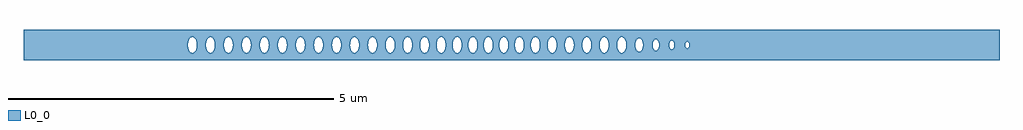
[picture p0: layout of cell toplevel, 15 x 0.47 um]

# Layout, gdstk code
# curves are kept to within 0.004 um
import gdstk
lib = gdstk.Library(unit=1e-6, precision=1e-09)
def P(c, l, *ps):  # polygons
    for p in ps: c.add(gdstk.Polygon(p, *l))
L0_0 = (0, 0)

toplevel = lib.new_cell('toplevel')
P(toplevel, L0_0, [(-4.399,-0.235),(-4.399,-0.09),(-4.421,-0.016),(-4.418,0.038),(-4.399,0.09),(-4.399,0.235),(-7.5,0.235),(-7.5,-0.008),(-4.975,-0.008),(-4.973,0.031),(-4.959,0.079),(-4.938,0.109),(-4.909,0.124),(-4.874,0.112),(-4.853,0.085),(-4.837,0.038),(-4.834,-0.008),(-4.698,-0.008),(-4.695,0.038),(-4.685,0.073),(-4.658,0.112),(-4.632,0.124),(-4.606,0.118),(-4.579,0.09),(-4.562,0.046),(-4.557,0.008),(-4.559,-0.031),(-4.573,-0.079),(-4.594,-0.109),(-4.623,-0.124),(-4.649,-0.118),(-4.676,-0.09),(-4.693,-0.046),(-4.698,-0.008),(-4.834,-0.008),(-4.837,-0.038),(-4.853,-0.085),(-4.874,-0.112),(-4.9,-0.124),(-4.926,-0.118),(-4.953,-0.09),(-4.97,-0.046),(-4.975,-0.008),(-7.5,-0.008),(-7.5,-0.235)],
  [(-3.866,0.023),(-3.859,0.06),(-3.835,0.105),(-3.81,0.122),(-3.779,0.12),(-3.779,0.235),(-4.399,0.235),(-4.399,0.09),(-4.385,0.109),(-4.364,0.122),(-4.337,0.122),(-4.317,0.109),(-4.289,0.06),(-4.281,0.023),(-4.281,-0.016),(-4.144,-0.016),(-4.141,0.038),(-4.131,0.073),(-4.108,0.109),(-4.078,0.124),(-4.052,0.118),(-4.029,0.096),(-4.012,0.06),(-4.003,0.008),(-4.005,-0.031),(-4.019,-0.079),(-4.04,-0.109),(-4.069,-0.124),(-4.096,-0.118),(-4.119,-0.096),(-4.131,-0.073),(-4.144,-0.016),(-4.281,-0.016),(-4.296,-0.079),(-4.329,-0.118),(-4.346,-0.124),(-4.364,-0.122),(-4.385,-0.109),(-4.399,-0.09),(-4.399,-0.235),(-3.779,-0.235),(-3.779,-0.12),(-3.81,-0.122),(-3.842,-0.096),(-3.861,-0.053)],
  [(-3.312,0.023),(-3.305,0.06),(-3.288,0.096),(-3.256,0.122),(-3.23,0.122),(-3.209,0.109),(-3.181,0.06),(-3.181,0.235),(-3.779,0.235),(-3.779,0.12),(-3.755,0.1),(-3.737,0.066),(-3.727,-0.016),(-3.59,-0.016),(-3.587,0.038),(-3.577,0.073),(-3.554,0.109),(-3.524,0.124),(-3.498,0.118),(-3.475,0.096),(-3.454,0.046),(-3.449,0),(-3.454,-0.046),(-3.469,-0.085),(-3.486,-0.109),(-3.516,-0.124),(-3.542,-0.118),(-3.565,-0.096),(-3.582,-0.06),(-3.59,-0.016),(-3.727,-0.016),(-3.745,-0.085),(-3.779,-0.12),(-3.779,-0.235),(-3.181,-0.235),(-3.181,-0.06),(-3.198,-0.096),(-3.221,-0.118),(-3.239,-0.124),(-3.265,-0.118),(-3.288,-0.096),(-3.303,-0.066),(-3.313,-0.016)],
  [(-3.174,-0.023),(-3.181,-0.06),(-3.181,-0.235),(-2.482,-0.235),(-2.482,0.235),(-3.181,0.235),(-3.181,0.06),(-3.173,0),(-3.037,0),(-3.032,0.046),(-3.011,0.096),(-2.988,0.118),(-2.962,0.124),(-2.932,0.109),(-2.915,0.085),(-2.902,0.053),(-2.896,-0.008),(-2.76,-0.008),(-2.755,0.046),(-2.734,0.096),(-2.702,0.122),(-2.667,0.118),(-2.644,0.096),(-2.627,0.06),(-2.619,-0.016),(-2.625,-0.053),(-2.638,-0.085),(-2.655,-0.109),(-2.676,-0.122),(-2.707,-0.12),(-2.734,-0.096),(-2.751,-0.06),(-2.76,-0.008),(-2.896,-0.008),(-2.902,-0.053),(-2.921,-0.096),(-2.944,-0.118),(-2.962,-0.124),(-2.988,-0.118),(-3.011,-0.096),(-3.028,-0.061),(-3.037,0),(-3.173,0)],
  [(-2.479,0.038),(-2.467,0.079),(-2.45,0.105),(-2.426,0.122),(-2.408,0.124),(-2.378,0.109),(-2.361,0.085),(-2.345,0.038),(-2.342,-0.008),(-2.207,-0.008),(-2.202,0.046),(-2.188,0.085),(-2.158,0.118),(-2.132,0.124),(-2.102,0.109),(-2.079,0.073),(-2.069,0.038),(-2.066,-0.016),(-2.079,-0.073),(-2.091,-0.096),(-2.114,-0.118),(-2.132,-0.124),(-2.158,-0.118),(-2.185,-0.09),(-2.202,-0.046),(-2.207,-0.008),(-2.342,-0.008),(-2.347,-0.046),(-2.367,-0.096),(-2.386,-0.115),(-2.408,-0.124),(-2.434,-0.118),(-2.454,-0.1),(-2.472,-0.066),(-2.482,-0.026),(-2.482,-0.235),(-1.901,-0.235),(-1.901,-0.105),(-1.923,-0.066),(-1.934,-0.008),(-1.925,0.06),(-1.901,0.105),(-1.901,0.235),(-2.482,0.235)],
  [(-1.405,0.016),(-1.395,0.066),(-1.369,0.109),(-1.348,0.122),(-1.331,0.124),(-1.297,0.105),(-1.297,0.235),(-1.901,0.235),(-1.901,0.105),(-1.868,0.124),(-1.85,0.122),(-1.829,0.109),(-1.802,0.06),(-1.793,-0.016),(-1.666,-0.016),(-1.663,0.038),(-1.653,0.073),(-1.63,0.109),(-1.6,0.124),(-1.574,0.118),(-1.551,0.096),(-1.534,0.06),(-1.525,0.008),(-1.53,-0.046),(-1.544,-0.085),(-1.562,-0.109),(-1.591,-0.124),(-1.618,-0.118),(-1.641,-0.096),(-1.658,-0.06),(-1.666,-0.016),(-1.793,-0.016),(-1.806,-0.073),(-1.829,-0.109),(-1.85,-0.122),(-1.868,-0.124),(-1.901,-0.105),(-1.901,-0.235),(-1.297,-0.235),(-1.297,-0.105),(-1.331,-0.124),(-1.353,-0.12),(-1.373,-0.105),(-1.401,-0.046)],
  [(-0.905,0.016),(-0.897,0.06),(-0.88,0.096),(-0.857,0.118),(-0.839,0.124),(-0.813,0.118),(-0.79,0.096),(-0.773,0.06),(-0.767,0.031),(-0.767,0.235),(-1.297,0.235),(-1.297,0.105),(-1.271,0.053),(-1.265,-0.016),(-1.152,-0.016),(-1.149,0.038),(-1.139,0.073),(-1.116,0.109),(-1.086,0.124),(-1.06,0.118),(-1.033,0.09),(-1.016,0.046),(-1.011,0.008),(-1.013,-0.031),(-1.027,-0.079),(-1.048,-0.109),(-1.077,-0.124),(-1.103,-0.118),(-1.127,-0.096),(-1.139,-0.073),(-1.152,-0.016),(-1.265,-0.016),(-1.273,-0.06),(-1.297,-0.105),(-1.297,-0.235),(-0.767,-0.235),(-0.767,-0.033),(-0.778,-0.073),(-0.797,-0.105),(-0.822,-0.122),(-0.848,-0.122),(-0.873,-0.105),(-0.895,-0.066)],
  [(-0.767,-0.031),(-0.767,-0.235),(-0.178,-0.235),(-0.178,-0.066),(-0.189,-0.016),(-0.187,0.031),(-0.178,0.065),(-0.178,0.235),(-0.767,0.235),(-0.765,-0.016),(-0.664,-0.016),(-0.661,0.038),(-0.651,0.073),(-0.628,0.109),(-0.598,0.124),(-0.572,0.118),(-0.543,0.085),(-0.528,0.046),(-0.524,-0.016),(-0.426,-0.016),(-0.423,0.038),(-0.407,0.085),(-0.378,0.118),(-0.351,0.124),(-0.322,0.109),(-0.304,0.085),(-0.29,0.046),(-0.285,0),(-0.29,-0.046),(-0.304,-0.085),(-0.338,-0.12),(-0.369,-0.122),(-0.394,-0.105),(-0.418,-0.06),(-0.426,-0.016),(-0.524,-0.016),(-0.532,-0.06),(-0.549,-0.096),(-0.572,-0.118),(-0.589,-0.124),(-0.616,-0.118),(-0.639,-0.096),(-0.656,-0.06),(-0.664,-0.016),(-0.765,-0.016)],
  [(-0.176,0.073),(-0.164,0.096),(-0.145,0.115),(-0.123,0.124),(-0.105,0.122),(-0.081,0.105),(-0.064,0.079),(-0.053,0.046),(-0.048,0),(0.05,0),(0.055,0.046),(0.076,0.096),(0.099,0.118),(0.13,0.123),(0.159,0.105),(0.178,0.073),(0.188,0.038),(0.191,-0.016),(0.183,-0.06),(0.166,-0.096),(0.143,-0.118),(0.125,-0.124),(0.099,-0.118),(0.076,-0.096),(0.055,-0.046),(0.05,0),(-0.048,0),(-0.053,-0.046),(-0.064,-0.079),(-0.081,-0.105),(-0.105,-0.122),(-0.132,-0.122),(-0.153,-0.109),(-0.178,-0.067),(-0.178,-0.235),(0.35,-0.235),(0.35,-0.12),(0.33,-0.105),(0.317,-0.085),(0.304,-0.053),(0.298,-0.016),(0.306,0.06),(0.323,0.096),(0.35,0.12),(0.35,0.235),(-0.178,0.235)],
  [(0.35,0.235),(0.35,0.12),(0.381,0.122),(0.413,0.096),(0.434,0.046),(0.438,-0.016),(0.555,-0.016),(0.558,0.038),(0.568,0.073),(0.591,0.109),(0.621,0.124),(0.647,0.118),(0.674,0.09),(0.691,0.046),(0.696,0.008),(0.694,-0.031),(0.68,-0.079),(0.659,-0.109),(0.63,-0.124),(0.604,-0.118),(0.58,-0.096),(0.568,-0.073),(0.555,-0.016),(0.438,-0.016),(0.43,-0.061),(0.406,-0.105),(0.381,-0.122),(0.35,-0.12),(0.35,-0.235),(0.945,-0.235),(0.945,-0.079),(0.912,-0.118),(0.895,-0.124),(0.868,-0.118),(0.852,-0.105),(0.833,-0.073),(0.82,-0.016),(0.826,0.053),(0.856,0.109),(0.877,0.122),(0.903,0.122),(0.928,0.105),(0.945,0.079),(0.945,0.235)],
  [(0.959,-0.023),(0.945,-0.079),(0.945,-0.235),(1.625,-0.235),(1.625,0.235),(0.945,0.235),(0.945,0.078),(0.956,0.046),(0.961,-0.008),(1.087,-0.008),(1.09,0.038),(1.1,0.073),(1.127,0.112),(1.153,0.124),(1.179,0.118),(1.209,0.085),(1.223,0.046),(1.228,-0.008),(1.354,-0.008),(1.359,0.046),(1.383,0.1),(1.403,0.118),(1.42,0.124),(1.451,0.115),(1.47,0.096),(1.482,0.073),(1.492,0.038),(1.495,-0.016),(1.476,-0.085),(1.459,-0.109),(1.438,-0.122),(1.411,-0.122),(1.38,-0.096),(1.363,-0.06),(1.354,-0.008),(1.228,-0.008),(1.223,-0.046),(1.209,-0.085),(1.191,-0.109),(1.162,-0.124),(1.136,-0.118),(1.109,-0.09),(1.092,-0.046),(1.087,-0.008),(0.961,-0.008)],
  [(2.169,0.017),(2.186,0.069),(2.203,0.085),(2.222,0.089),(2.222,0.235),(1.625,0.235),(1.625,0.023),(1.635,0.066),(1.65,0.096),(1.673,0.118),(1.699,0.124),(1.729,0.109),(1.752,0.073),(1.762,0.038),(1.765,-0.013),(1.902,-0.013),(1.913,0.063),(1.936,0.096),(1.962,0.107),(1.984,0.099),(2.004,0.078),(2.017,0.045),(2.023,0.007),(2.02,-0.033),(2.004,-0.078),(1.984,-0.099),(1.962,-0.107),(1.94,-0.099),(1.921,-0.078),(1.907,-0.045),(1.902,-0.013),(1.765,-0.013),(1.756,-0.06),(1.74,-0.096),(1.708,-0.122),(1.681,-0.122),(1.661,-0.109),(1.643,-0.085),(1.625,-0.026),(1.625,-0.235),(2.222,-0.235),(2.222,-0.089),(2.203,-0.085),(2.186,-0.069),(2.17,-0.028)],
  [(2.268,-0.017),(2.251,-0.069),(2.222,-0.089),(2.222,-0.235),(7.5,-0.235),(7.5,0.235),(2.222,0.235),(2.222,0.089),(2.24,0.081),(2.258,0.057),(2.267,0.028),(2.269,-0.009),(2.423,-0.009),(2.432,0.046),(2.444,0.063),(2.461,0.072),(2.479,0.067),(2.494,0.049),(2.503,0.022),(2.504,-0.007),(2.671,-0.007),(2.678,0.035),(2.698,0.054),(2.717,0.048),(2.731,0.02),(2.733,-0.003),(2.726,-0.035),(2.706,-0.054),(2.694,-0.053),(2.682,-0.042),(2.671,-0.007),(2.504,-0.007),(2.494,-0.049),(2.479,-0.067),(2.466,-0.072),(2.442,-0.061),(2.429,-0.038),(2.423,-0.009),(2.269,-0.009)])

lib.write_gds('toplevel.gds')
